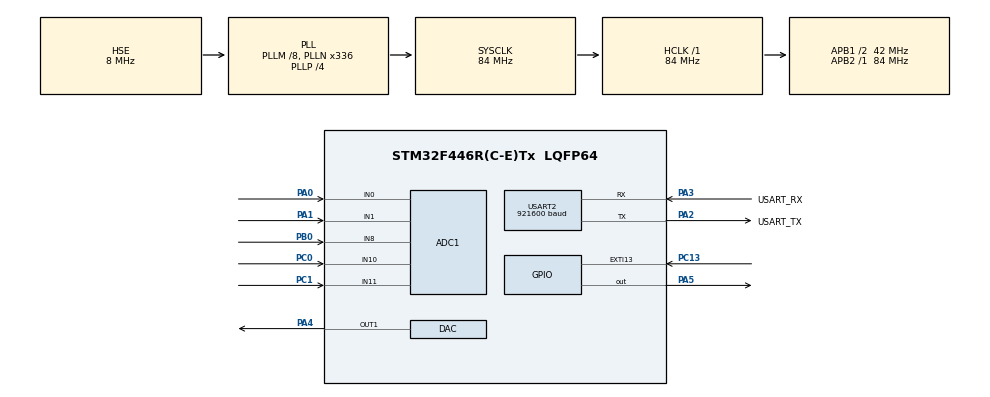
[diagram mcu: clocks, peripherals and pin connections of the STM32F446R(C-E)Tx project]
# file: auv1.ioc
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ADC1.Channel-0\#ChannelRegularConversion=ADC_CHANNEL_0
ADC1.NbrOfConversionFlag=1
ADC1.Rank-0\#ChannelRegularConversion=1
ADC1.SamplingTime-0\#ChannelRegularConversion=ADC_SAMPLETIME_56CYCLES
ADC1.master=1
DAC.DAC_Trigger=DAC_TRIGGER_T6_TRGO
Dma.DAC1.0.Direction=DMA_MEMORY_TO_PERIPH
Dma.DAC1.0.FIFOMode=DMA_FIFOMODE_DISABLE
Dma.DAC1.0.Instance=DMA1_Stream5
Dma.DAC1.0.MemDataAlignment=DMA_MDATAALIGN_HALFWORD
Dma.DAC1.0.MemInc=DMA_MINC_ENABLE
Dma.DAC1.0.Mode=DMA_NORMAL
Dma.DAC1.0.PeriphDataAlignment=DMA_PDATAALIGN_HALFWORD
Dma.DAC1.0.PeriphInc=DMA_PINC_DISABLE
Dma.DAC1.0.Priority=DMA_PRIORITY_HIGH
Dma.Request0=DAC1
Mcu.Family=STM32F4
Mcu.Name=STM32F446R(C-E)Tx
Mcu.Package=LQFP64
NUCLEO-F446RE.BUTTON=0
NUCLEO-F446RE.LD1=false
NVIC.DMA1_Stream5_IRQn=true\:0\:0\:false\:false\:true\:false\:true\:true
NVIC.EXTI15_10_IRQn=true\:0\:0\:true\:false\:true\:true\:true\:true
NVIC.PriorityGroup=NVIC_PRIORITYGROUP_0
PA0-WKUP.Signal=ADCx_IN0
PA1.Signal=ADCx_IN1
PA13.GPIO_Label=TMS
PA13.Mode=Serial_Wire
PA13.Signal=SYS_JTMS-SWDIO
PA14.GPIO_Label=TCK
PA14.Mode=Serial_Wire
PA14.Signal=SYS_JTCK-SWCLK
PA2.GPIO_Label=USART_TX
PA2.Mode=Asynchronous
PA2.Signal=USART2_TX
PA3.GPIO_Label=USART_RX
PA3.Mode=Asynchronous
PA3.Signal=USART2_RX
PA4.Signal=COMP_DAC1_group
PA5.Signal=GPIO_Output
PB0.Signal=ADCx_IN8
PB3.GPIO_Label=SWO
PB3.Signal=SYS_JTDO-SWO
PC0.Signal=ADCx_IN10
PC1.Signal=ADCx_IN11
PC13.GPIO_ModeDefaultEXTI=GPIO_MODE_IT_FALLING
PC13.GPIO_PuPd=GPIO_PULLUP
PC13.Signal=GPXTI13
PC14-OSC32_IN.Signal=RCC_OSC32_IN
PC15-OSC32_OUT.Signal=RCC_OSC32_OUT
PH0-OSC_IN.Signal=RCC_OSC_IN
PH1-OSC_OUT.Signal=RCC_OSC_OUT
ProjectManager.HeapSize=0x200
ProjectManager.StackSize=0x400
ProjectManager.TargetToolchain=STM32CubeIDE
RCC.AHBFreq_Value=84000000
RCC.APB1CLKDivider=RCC_HCLK_DIV2
RCC.APB1Freq_Value=42000000
RCC.APB1TimFreq_Value=84000000
RCC.APB2Freq_Value=84000000
RCC.APB2TimFreq_Value=84000000
RCC.CortexFreq_Value=84000000
RCC.FLatency-AdvancedSettings=FLASH_LATENCY_2
RCC.HCLKFreq_Value=84000000
RCC.HSE_VALUE=8000000
RCC.HSI_VALUE=16000000
RCC.LSE_VALUE=32768
RCC.PLLN=336
RCC.PLLP=RCC_PLLP_DIV4
RCC.SYSCLKFreq_VALUE=84000000
RCC.SYSCLKSource=RCC_SYSCLKSOURCE_PLLCLK
RCC.USBFreq_Value=168000000
RCC.VCOOutputFreq_Value=336000000
SH.ADCx_IN0.0=ADC1_IN0,IN0
SH.ADCx_IN1.0=ADC1_IN1,IN1
SH.ADCx_IN10.0=ADC1_IN10,IN10
SH.ADCx_IN11.0=ADC1_IN11,IN11
SH.ADCx_IN8.0=ADC1_IN8,IN8
SH.COMP_DAC1_group.0=DAC_OUT1,DAC_OUT1
TIM6.Period=83
TIM6.TIM_MasterOutputTrigger=TIM_TRGO_UPDATE
USART2.BaudRate=921600
USART2.VirtualMode=VM_ASYNC
VP_NUCLEO-F446RE_VS_BSP_COMMON.Mode=COMMON
VP_TIM6_VS_ClockSourceINT.Mode=Enable_Timer
board=NUCLEO-F446RE

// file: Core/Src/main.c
/* USER CODE BEGIN Header */

/* USER CODE END Header */

#include "main.h"

/* USER CODE BEGIN Includes */
#include <math.h>
#include <stdio.h>
#include <stdarg.h>
#include <string.h>
#include <stdint.h>
/* USER CODE END Includes */

/* USER CODE BEGIN PTD */

typedef enum
{
  WAVEFORM_LFM = 0,
  WAVEFORM_LOGFM,
  WAVEFORM_HFM,
  WAVEFORM_PHASECODED,
  WAVEFORM_COUNT
} WaveformType_t;

typedef enum
{
  WIN_TUKEY = 0,
  WIN_HANN,
  WIN_HAMMING,
  WIN_BLACKMAN,
  WIN_COUNT
} WindowType_t;

typedef struct
{
  float turbidity_ntu;
  float temperature_c;
  float depth_m;
  float salinity_psu;
  float range_m;
} EnvSensors_t;

typedef struct
{
  WaveformType_t type;
  WindowType_t   window;
  float f_start_hz;
  float f_end_hz;
  float duration_ms;
  float amplitude_scale;

  float fc_model_hz;
  float bw_model_hz;
  float range_m;
  float sound_speed;
  float alpha_dbkm;
  float res_mm;
  uint32_t pri_ms;
} SonarParams_t;

typedef struct
{
  uint8_t  type;
  uint8_t  window;
  uint8_t  amp_pct;
  uint16_t dur_10us;
  uint32_t f0_100hz;
  uint32_t f1_100hz;
} PingKey_t;

typedef struct
{
  SonarParams_t p;
  PingKey_t     key;
  uint32_t      n;
  uint8_t       valid;
  uint8_t       hit;
} Ping_t;

/* USER CODE END PTD */

/* USER CODE BEGIN PD */

#define PROFILE_MVP

#if defined(PROFILE_MVP)
  #define DAC_SAMPLE_RATE   1000000UL
  #define BAND_F_MIN_HZ     20000.0f
  #define BAND_F_MAX_HZ     50000.0f
  #define BAND_F_MAX_HZ_INT 50000UL
  #define MODEL_F_MIN_HZ    100000.0f
  #define MODEL_F_MAX_HZ    500000.0f
  #define TIM_CLK_HZ        84000000UL
  _Static_assert((TIM_CLK_HZ % DAC_SAMPLE_RATE) == 0, "TIM6 divider must be integer");
#else

  #define DAC_SAMPLE_RATE   10000000UL
  #define BAND_F_MIN_HZ     100000.0f
  #define BAND_F_MAX_HZ     500000.0f
  #define BAND_F_MAX_HZ_INT 500000UL
  #define MODEL_F_MIN_HZ    100000.0f
  #define MODEL_F_MAX_HZ    500000.0f
  #error "PROFILE_PAYLOAD is an architectural target; use the ported payload driver rather than this F446RE MSP configuration."
#endif

#if defined(PROFILE_PAYLOAD) && (DAC_SAMPLE_RATE < 10000000UL)
  #error "Payload profile requires a DAC/sample clock of at least 10 MS/s"
#endif

_Static_assert((DAC_SAMPLE_RATE * 2UL) >= (BAND_F_MAX_HZ_INT * 5UL),
               "Sample rate too low for band");

#define MAX_PULSE_MS        7.0f
#define MAX_PULSE_SAMPLES   ((DAC_SAMPLE_RATE / 1000UL) * 7UL)
#define TAIL_PAD            2U

#if defined(PROFILE_MVP)
  _Static_assert((2UL * (MAX_PULSE_SAMPLES + TAIL_PAD) * sizeof(uint16_t) +
                  MAX_PULSE_SAMPLES * sizeof(float)) < (96UL * 1024UL),
                 "MVP waveform buffers exceed the intended F446 SRAM budget");
#endif
#define BARKER13_LEN        13U
#define MIN_PULSE_SAMPLES   (BARKER13_LEN * 8U)

#define BARKER_RC_PER_B     1.0f
#define BARKER_RAMP_SAMPLES 8U
#define WIN_BARKER_GUARD    ((WindowType_t)(WIN_COUNT + 1))

#define MATCH_PAYLOAD_TBP   0

#define CLOCK_USE_HSE_BYPASS 1

#define NTU_MAX             200.0f
#define TEMP_MIN_C          (-2.0f)
#define TEMP_MAX_C          35.0f
#define DEPTH_MAX_M         2000.0f
#define SAL_MAX_PSU         40.0f
#define EMA_ALPHA           0.30f
#define ADC_OVERSAMPLE      16U

#define BW_FRACTION         0.20f
#define ABS_BUDGET_DB       20.0f
#define FC_STEP_HZ          5000.0f
#define TURB_FREQ_EXP       1.0f
#define TURB_MODEL_CALIBRATED 0
#define WATER_PH            8.0f

#define USE_RANGE_POT       1
#define MISSION_RANGE_FIXED_M 50.0f
#define RANGE_MIN_M         10.0f
#define RANGE_MAX_M         300.0f
#define TAU_PER_M_MS        0.02f
#define TAU_MIN_MS          0.5f
#define AMP_MIN             0.20f

#define AMP_MAX             0.85f

#define DAC_PARK_ENABLED    1

#define LOSS_REF_DB         85.0f
#define DRIVE_DB_DIV        20.0f
#define PRI_MIN_MS          60U
#define PRI_GUARD_MS        10.0f
#define TUKEY_ALPHA         0.25f
#define HFM_SEGMENTS        64U

#define STOP_MIN_MS         12U
#define STOP_MARGIN_MS      3U
#define KEEP_DEBUG_IN_STOP  0
#define LSI16_MIN_HZ        1000U
#define LSI16_MAX_HZ        3200U

extern volatile uint32_t uwTick;

#define BUTTON_DEBOUNCE_MS  200U

#define LUT_BITS            10U
#define LUT_SIZE            (1UL << LUT_BITS)
#define TWO_PI_F            6.28318530718f

#define TELEMETRY_ENABLE    1
#define TELEMETRY_EVERY     8U
#define TELEMETRY_BUDGET_MS 12U
#define TELEMETRY_ANSI      0
#define TELEMETRY_BUF_SIZE  896U

#define PIPELINE_GUARD_US   50U
#define ADC_CONV_TIMEOUT_MS 2U

/* USER CODE END PD */

ADC_HandleTypeDef hadc1;

DAC_HandleTypeDef hdac;
DMA_HandleTypeDef hdma_dac1;

TIM_HandleTypeDef htim6;

UART_HandleTypeDef huart2;

/* USER CODE BEGIN PV */

static float sine_lut[LUT_SIZE + 1U];

static const int8_t barker13[BARKER13_LEN] = { 1, 1, 1, 1, 1, -1, -1, 1, 1, -1, 1, -1, 1 };

static const char *const WAVE_NAME[WAVEFORM_COUNT] = { "LFM", "GeoFM", "HFM", "Barker13" };
static const char *const WIN_NAME[WIN_COUNT]       = { "Tukey", "Hann", "Hamming", "Blackman" };

static uint16_t pulse_buf[2][MAX_PULSE_SAMPLES + TAIL_PAD];
static Ping_t   ping[2];

static volatile uint8_t tx_done  = 0;
static volatile uint8_t tx_error = 0;

static volatile uint8_t  wave_override = 0;
static volatile uint32_t btn_last_ms   = 0;

static uint32_t sleep_cycles  = 0;
static uint32_t gen_us        = 0;
static uint32_t duty_pm       = 0;
static uint32_t cache_hits    = 0;
static volatile uint8_t rtc_woke = 0;
static uint32_t lsi16_hz      = 2000;
static uint8_t  stop_ok       = 0;

static float        win_cache[MAX_PULSE_SAMPLES];
static WindowType_t win_cache_type = WIN_COUNT;
static uint32_t     win_cache_n    = 0;
static uint32_t fault_count   = 0;
static int32_t  i_active_uA   = -1;
static int32_t  i_sleep_uA    = -1;
static int32_t  v_bus_mV      = 0;
static volatile uint32_t tx_t0     = 0;
static volatile uint32_t tx_cycles = 0;
static volatile uint32_t tx_us_meas = 0;
static uint32_t tx_us_expected = 0;
static uint32_t pipeline_miss_count = 0;
static uint32_t tx_timeout_count = 0;
static uint32_t adc_error_count = 0;
static uint32_t synthesis_count = 0;
static uint32_t synthesis_overrun_count = 0;
static uint32_t max_gen_us = 0;
static uint8_t pipeline_safe = 1;
static uint32_t pipeline_ready_us = 0;
static uint32_t pipeline_slack_us = 0;
static uint32_t telemetry_overrun_count = 0;
static uint32_t telemetry_max_us = 0;
static uint8_t  clk_hse = 0;

/* USER CODE END PV */

void SystemClock_Config(void);
static void MX_GPIO_Init(void);
static void MX_DMA_Init(void);
static void MX_ADC1_Init(void);
static void MX_DAC_Init(void);
static void MX_TIM6_Init(void);
static void MX_USART2_UART_Init(void);

/* USER CODE BEGIN PFP */

static void     BuildSineLut(void);
static inline float SinLut(uint32_t phase);
static inline float CosLut(uint32_t phase);
static float    WindowValue(WindowType_t w, uint32_t i, uint32_t n);
static uint16_t SampleToDac(float s);

static uint32_t ADC_ReadChannel(uint32_t channel);
static float    ReadNorm(uint32_t channel);
static void     ReadEnvironmentalSensors(EnvSensors_t *env);

static float    SoundSpeed(float T, float S, float z_m);
static float    AbsorptionDbPerKm(float f_khz, float T, float S, float z_m);
static float    TotalAlphaDbPerKm(float f_hz, const EnvSensors_t *e);
static float    ModelToHw(float f_model_hz);
static uint8_t  ZoneHyst(uint8_t prev, float v, const float *thr, uint8_t n, float margin);
static void     DecideSonarParameters(const EnvSensors_t *env, SonarParams_t *p);

static uint32_t SynthesizePulse(const SonarParams_t *p, uint16_t *buf);
static void     BarkerPlan(float f_lo, float f_hi, float *fc_out, uint32_t *spc_out);
static uint32_t TxOverheadNs(uint32_t n);
static uint32_t PhaseStepFromHz(float f_hz);
static uint8_t PingKeyEqual(const PingKey_t *a, const PingKey_t *b);
static void     PreparePing(Ping_t *pg, uint16_t *buf);
static void     StartTx(const uint16_t *buf, uint32_t n);
static uint8_t  WaitTxDone(uint32_t timeout_ms);
static void     StopTx(void);

static void     DwtInit(void);
static void     ParkDacAtMid(void);
static void     DelayUs(uint32_t us);
static void     SleepWfi(void);
static void     SleepUntil(uint32_t deadline_tick);
static void     RtcWakeInit(void);
static void     RtcArm(uint32_t counts);
static void     RtcCalibrate(void);
static void     StopFor(uint32_t ms);
static void     EnsureWindow(WindowType_t w, uint32_t n);
static void     WatchdogInit(void);
static inline void WatchdogKick(void);
static void     Tpf(const char *fmt, ...);
static void     Telemetry(uint32_t seq, const Ping_t *pg);

#ifdef USE_INA226
extern I2C_HandleTypeDef hi2c1;
static void    Ina226_Init(void);
static int32_t Ina226_ReadCurrent_uA(void);
static int32_t Ina226_ReadBus_mV(void);
#endif

/* USER CODE END PFP */

int main(void)
{
  /* USER CODE BEGIN 1 */
  uint8_t  cur = 0;
  uint32_t seq = 0;
  /* USER CODE END 1 */

  HAL_Init();
  SystemClock_Config();

  MX_GPIO_Init();
  MX_DMA_Init();
  MX_ADC1_Init();
  MX_DAC_Init();
  MX_TIM6_Init();
  MX_USART2_UART_Init();

  /* USER CODE BEGIN 2 */
  BuildSineLut();
  DwtInit();
#if DAC_PARK_ENABLED
  ParkDacAtMid();
#endif
#ifdef USE_INA226
  Ina226_Init();
#endif
  WatchdogInit();
  RtcWakeInit();
  RtcCalibrate();

  PreparePing(&ping[cur], pulse_buf[cur]);
  /* USER CODE END 2 */

  /* USER CODE BEGIN WHILE */
  while (1)
  {
    const uint32_t t_start = HAL_GetTick();
    const uint32_t c_start = DWT->CYCCNT;
    const uint8_t  nxt     = cur ^ 1U;
    sleep_cycles = 0;
    WatchdogKick();

    StartTx(pulse_buf[cur], ping[cur].n);
#ifdef USE_INA226
    i_active_uA = Ina226_ReadCurrent_uA();
    v_bus_mV    = Ina226_ReadBus_mV();
#endif

    {
      const uint32_t g0 = DWT->CYCCNT;
      PreparePing(&ping[nxt], pulse_buf[nxt]);
      gen_us = (DWT->CYCCNT - g0) / (SystemCoreClock / 1000000UL);
      if (gen_us > max_gen_us) max_gen_us = gen_us;
      tx_us_expected = (uint32_t)(((uint64_t)ping[cur].n * 1000000ULL) / DAC_SAMPLE_RATE);

      pipeline_ready_us = (DWT->CYCCNT - c_start) / (SystemCoreClock / 1000000UL);
      {
        const uint32_t pri_us = ping[cur].p.pri_ms * 1000UL;
        if (pri_us > pipeline_ready_us + PIPELINE_GUARD_US)
        {
          pipeline_safe = 1U;
          pipeline_slack_us = pri_us - pipeline_ready_us;
        }
        else
        {
          pipeline_safe = 0U;
          pipeline_slack_us = 0U;
          pipeline_miss_count++;
          synthesis_overrun_count++;

        }
      }
    }

    if (!WaitTxDone((uint32_t)ping[cur].p.duration_ms + 25U) || tx_error)
    {
      fault_count++;
      if (!tx_done && !tx_error) tx_timeout_count++;
    }
    StopTx();

    const uint32_t deadline = t_start + ping[cur].p.pri_ms;
    const uint8_t telemetry_due =
#if TELEMETRY_ENABLE
      ((seq % TELEMETRY_EVERY) == 0U);
#else
      0U;
#endif

    if (telemetry_due)
    {
      const int32_t rem = (int32_t)(deadline - HAL_GetTick());
      if (rem > (int32_t)TELEMETRY_BUDGET_MS)
        SleepUntil(deadline - TELEMETRY_BUDGET_MS);
      else
        SleepUntil(deadline);
    }
    else
    {
      SleepUntil(deadline);
    }

    {

      const uint32_t run = (DWT->CYCCNT - c_start) - sleep_cycles;
      const uint64_t period = (uint64_t)ping[cur].p.pri_ms * (SystemCoreClock / 1000UL);
      duty_pm = (period > 0U) ? (uint32_t)(((uint64_t)run * 1000ULL) / period) : 1000U;
    }

#if TELEMETRY_ENABLE
    if (telemetry_due)
    {
      const uint32_t telem_t0 = DWT->CYCCNT;
      Telemetry(seq, &ping[cur]);
      const uint32_t telem_us = (DWT->CYCCNT - telem_t0) / (SystemCoreClock / 1000000UL);
      if (telem_us > telemetry_max_us) telemetry_max_us = telem_us;
      if (telem_us > (TELEMETRY_BUDGET_MS * 1000UL)) telemetry_overrun_count++;

      SleepUntil(deadline);
    }
#endif

    cur = nxt;
    seq++;
    /* USER CODE END WHILE */

  }
}

void SystemClock_Config(void)
{
  RCC_OscInitTypeDef RCC_OscInitStruct = {0};
  RCC_ClkInitTypeDef RCC_ClkInitStruct = {0};
  static int8_t hse_state = -1;

  __HAL_RCC_PWR_CLK_ENABLE();
  __HAL_PWR_VOLTAGESCALING_CONFIG(PWR_REGULATOR_VOLTAGE_SCALE3);

#if CLOCK_USE_HSE_BYPASS
  if (hse_state != 0)
  {
    RCC_OscInitStruct.OscillatorType = RCC_OSCILLATORTYPE_HSE;
    RCC_OscInitStruct.HSEState = RCC_HSE_BYPASS;
    RCC_OscInitStruct.PLL.PLLState = RCC_PLL_ON;
    RCC_OscInitStruct.PLL.PLLSource = RCC_PLLSOURCE_HSE;
    RCC_OscInitStruct.PLL.PLLM = 8;
    RCC_OscInitStruct.PLL.PLLN = 336;
    RCC_OscInitStruct.PLL.PLLP = RCC_PLLP_DIV4;
    RCC_OscInitStruct.PLL.PLLQ = 7;
    RCC_OscInitStruct.PLL.PLLR = 2;
    hse_state = (HAL_RCC_OscConfig(&RCC_OscInitStruct) == HAL_OK) ? 1 : 0;
  }
#else
  hse_state = 0;
#endif

  if (hse_state != 1)
  {
    memset(&RCC_OscInitStruct, 0, sizeof(RCC_OscInitStruct));
    RCC_OscInitStruct.OscillatorType = RCC_OSCILLATORTYPE_HSI | RCC_OSCILLATORTYPE_HSE;
    RCC_OscInitStruct.HSEState = RCC_HSE_OFF;
    RCC_OscInitStruct.HSIState = RCC_HSI_ON;
    RCC_OscInitStruct.HSICalibrationValue = RCC_HSICALIBRATION_DEFAULT;
    RCC_OscInitStruct.PLL.PLLState = RCC_PLL_ON;
    RCC_OscInitStruct.PLL.PLLSource = RCC_PLLSOURCE_HSI;
    RCC_OscInitStruct.PLL.PLLM = 16;
    RCC_OscInitStruct.PLL.PLLN = 336;
    RCC_OscInitStruct.PLL.PLLP = RCC_PLLP_DIV4;
    RCC_OscInitStruct.PLL.PLLQ = 7;
    RCC_OscInitStruct.PLL.PLLR = 2;
    if (HAL_RCC_OscConfig(&RCC_OscInitStruct) != HAL_OK)
    {
      Error_Handler();
    }
  }
  clk_hse = (hse_state == 1) ? 1U : 0U;

  RCC_ClkInitStruct.ClockType = RCC_CLOCKTYPE_HCLK | RCC_CLOCKTYPE_SYSCLK
                              | RCC_CLOCKTYPE_PCLK1 | RCC_CLOCKTYPE_PCLK2;
  RCC_ClkInitStruct.SYSCLKSource = RCC_SYSCLKSOURCE_PLLCLK;
  RCC_ClkInitStruct.AHBCLKDivider = RCC_SYSCLK_DIV1;
  RCC_ClkInitStruct.APB1CLKDivider = RCC_HCLK_DIV2;
  RCC_ClkInitStruct.APB2CLKDivider = RCC_HCLK_DIV1;
  if (HAL_RCC_ClockConfig(&RCC_ClkInitStruct, FLASH_LATENCY_2) != HAL_OK)
  {
    Error_Handler();
  }
}

static void MX_ADC1_Init(void)
{
  ADC_ChannelConfTypeDef sConfig = {0};

  hadc1.Instance = ADC1;
  hadc1.Init.ClockPrescaler = ADC_CLOCK_SYNC_PCLK_DIV4;
  hadc1.Init.Resolution = ADC_RESOLUTION_12B;
  hadc1.Init.ScanConvMode = DISABLE;
  hadc1.Init.ContinuousConvMode = DISABLE;
  hadc1.Init.DiscontinuousConvMode = DISABLE;
  hadc1.Init.ExternalTrigConvEdge = ADC_EXTERNALTRIGCONVEDGE_NONE;
  hadc1.Init.ExternalTrigConv = ADC_SOFTWARE_START;
  hadc1.Init.DataAlign = ADC_DATAALIGN_RIGHT;
  hadc1.Init.NbrOfConversion = 1;
  hadc1.Init.DMAContinuousRequests = DISABLE;
  hadc1.Init.EOCSelection = ADC_EOC_SINGLE_CONV;
  if (HAL_ADC_Init(&hadc1) != HAL_OK)
  {
    Error_Handler();
  }

  sConfig.Channel = ADC_CHANNEL_0;
  sConfig.Rank = 1;
  sConfig.SamplingTime = ADC_SAMPLETIME_56CYCLES;
  if (HAL_ADC_ConfigChannel(&hadc1, &sConfig) != HAL_OK)
  {
    Error_Handler();
  }
}

static void MX_DAC_Init(void)
{
  DAC_ChannelConfTypeDef sConfig = {0};

  hdac.Instance = DAC;
  if (HAL_DAC_Init(&hdac) != HAL_OK)
  {
    Error_Handler();
  }

  sConfig.DAC_Trigger = DAC_TRIGGER_T6_TRGO;
  sConfig.DAC_OutputBuffer = DAC_OUTPUTBUFFER_ENABLE;
  if (HAL_DAC_ConfigChannel(&hdac, &sConfig, DAC_CHANNEL_1) != HAL_OK)
  {
    Error_Handler();
  }
}

static void MX_TIM6_Init(void)
{
  TIM_MasterConfigTypeDef sMasterConfig = {0};

  htim6.Instance = TIM6;
  htim6.Init.Prescaler = 0;
  htim6.Init.CounterMode = TIM_COUNTERMODE_UP;
  htim6.Init.Period = (TIM_CLK_HZ / DAC_SAMPLE_RATE) - 1UL;
  htim6.Init.AutoReloadPreload = TIM_AUTORELOAD_PRELOAD_ENABLE;
  if (HAL_TIM_Base_Init(&htim6) != HAL_OK)
  {
    Error_Handler();
  }

  sMasterConfig.MasterOutputTrigger = TIM_TRGO_UPDATE;
  sMasterConfig.MasterSlaveMode = TIM_MASTERSLAVEMODE_DISABLE;
  if (HAL_TIMEx_MasterConfigSynchronization(&htim6, &sMasterConfig) != HAL_OK)
  {
    Error_Handler();
  }
}

static void MX_USART2_UART_Init(void)
{
  huart2.Instance = USART2;
  huart2.Init.BaudRate = 921600;
  huart2.Init.WordLength = UART_WORDLENGTH_8B;
  huart2.Init.StopBits = UART_STOPBITS_1;
  huart2.Init.Parity = UART_PARITY_NONE;
  huart2.Init.Mode = UART_MODE_TX_RX;
  huart2.Init.HwFlowCtl = UART_HWCONTROL_NONE;
  huart2.Init.OverSampling = UART_OVERSAMPLING_16;
  if (HAL_UART_Init(&huart2) != HAL_OK)
  {
    Error_Handler();
  }
}

static void MX_DMA_Init(void)
{
  __HAL_RCC_DMA1_CLK_ENABLE();
  HAL_NVIC_SetPriority(DMA1_Stream5_IRQn, 0, 0);
  HAL_NVIC_EnableIRQ(DMA1_Stream5_IRQn);
}

static void MX_GPIO_Init(void)
{
  GPIO_InitTypeDef GPIO_InitStruct = {0};

  __HAL_RCC_GPIOC_CLK_ENABLE();
  __HAL_RCC_GPIOH_CLK_ENABLE();
  __HAL_RCC_GPIOA_CLK_ENABLE();
  __HAL_RCC_GPIOB_CLK_ENABLE();

  GPIO_InitStruct.Pin = GPIO_PIN_0 | GPIO_PIN_1;
  GPIO_InitStruct.Mode = GPIO_MODE_ANALOG;
  GPIO_InitStruct.Pull = GPIO_NOPULL;
  HAL_GPIO_Init(GPIOA, &GPIO_InitStruct);

  HAL_GPIO_Init(GPIOC, &GPIO_InitStruct);

  GPIO_InitStruct.Pin = GPIO_PIN_0;
  HAL_GPIO_Init(GPIOB, &GPIO_InitStruct);
  GPIO_InitStruct.Pin = GPIO_PIN_1;

  GPIO_InitStruct.Pin = GPIO_PIN_5;
  GPIO_InitStruct.Mode = GPIO_MODE_OUTPUT_PP;
  GPIO_InitStruct.Pull = GPIO_NOPULL;
  GPIO_InitStruct.Speed = GPIO_SPEED_FREQ_LOW;
  HAL_GPIO_Init(GPIOA, &GPIO_InitStruct);
  HAL_GPIO_WritePin(GPIOA, GPIO_PIN_5, GPIO_PIN_RESET);

  GPIO_InitStruct.Pin  = GPIO_PIN_13;
  GPIO_InitStruct.Mode = GPIO_MODE_IT_FALLING;
  GPIO_InitStruct.Pull = GPIO_PULLUP;
  HAL_GPIO_Init(GPIOC, &GPIO_InitStruct);
  HAL_NVIC_SetPriority(EXTI15_10_IRQn, 0, 0);
  HAL_NVIC_EnableIRQ(EXTI15_10_IRQn);
}

/* USER CODE BEGIN 4 */

static void BuildSineLut(void)
{
  for (uint32_t i = 0; i <= LUT_SIZE; i++)
  {
    sine_lut[i] = sinf(TWO_PI_F * (float)i / (float)LUT_SIZE);
  }
}

static inline float SinLut(uint32_t phase)
{
  const uint32_t idx  = phase >> (32U - LUT_BITS);
  const float    frac = (float)(phase & ((1UL << (32U - LUT_BITS)) - 1UL))
                        * (1.0f / (float)(1UL << (32U - LUT_BITS)));
  const float a = sine_lut[idx];
  const float b = sine_lut[idx + 1U];
  return a + (b - a) * frac;
}

static inline float CosLut(uint32_t phase)
{
  return SinLut(phase + 0x40000000UL);
}

static inline uint32_t TurnsToPhase(float x)
{
  return ((uint32_t)(x * 16777216.0f)) << 8;
}

static inline float RaisedCosineRamp(float u)
{
  if (u >= 1.0f) return 1.0f;
  return 0.5f - 0.5f * CosLut(TurnsToPhase(0.5f * u));
}

static float WindowValue(WindowType_t w, uint32_t i, uint32_t n)
{

  if (w == WIN_BARKER_GUARD)
  {
    const float r = (float)BARKER_RAMP_SAMPLES;
    if ((float)i < r)            return RaisedCosineRamp((float)i / r);
    if ((float)(n - 1U - i) < r) return RaisedCosineRamp((float)(n - 1U - i) / r);
    return 1.0f;
  }

  const float x = (float)i / (float)(n - 1U);
  const uint32_t ph = TurnsToPhase(x);

  switch (w)
  {
    case WIN_HANN:
      return 0.5f - 0.5f * CosLut(ph);

    case WIN_HAMMING:
    {

      float v = 0.54f - 0.46f * CosLut(ph);
      float guard = (float)(n / 50U);
      if (guard < 16.0f) guard = 16.0f;
      if ((float)i < guard)             v *= RaisedCosineRamp((float)i / guard);
      else if ((float)(n - 1U - i) < guard) v *= RaisedCosineRamp((float)(n - 1U - i) / guard);
      return v;
    }

    case WIN_BLACKMAN:
      return 0.42f - 0.5f * CosLut(ph) + 0.08f * CosLut(ph << 1);

    case WIN_TUKEY:
    default:
    {
      float taper = TUKEY_ALPHA * (float)(n - 1U) * 0.5f;
      if (taper < 1.0f) taper = 1.0f;
      if ((float)i < taper)                  return RaisedCosineRamp((float)i / taper);
      if ((float)(n - 1U - i) < taper)       return RaisedCosineRamp((float)(n - 1U - i) / taper);
      return 1.0f;
    }
  }
}

static uint16_t SampleToDac(float s)
{
  if (s > 1.0f)  s = 1.0f;
  if (s < -1.0f) s = -1.0f;
  return (uint16_t)(2048.0f + 2047.0f * s + 0.5f);
}

static uint32_t PhaseStepFromHz(float f_hz)
{

  if (f_hz <= 0.0f) return 0U;
  if (f_hz >= ((float)DAC_SAMPLE_RATE * 0.49f))
    f_hz = (float)DAC_SAMPLE_RATE * 0.49f;
  const uint64_t f_hz_i = (uint64_t)(f_hz + 0.5f);
  return (uint32_t)((f_hz_i * 4294967296ULL) / (uint64_t)DAC_SAMPLE_RATE);
}

static uint8_t PingKeyEqual(const PingKey_t *a, const PingKey_t *b)
{
  return (a->type == b->type && a->window == b->window && a->amp_pct == b->amp_pct &&
          a->dur_10us == b->dur_10us && a->f0_100hz == b->f0_100hz && a->f1_100hz == b->f1_100hz);
}

static void EnsureWindow(WindowType_t w, uint32_t n)
{
  if (w == win_cache_type && n == win_cache_n) return;
  for (uint32_t i = 0; i < n; i++) win_cache[i] = WindowValue(w, i, n);
  win_cache_type = w;
  win_cache_n = n;
}

static void BarkerPlan(float f_lo, float f_hi, float *fc_out, uint32_t *spc_out)
{
  const float fs = (float)DAC_SAMPLE_RATE;
  const uint32_t spc_max = MAX_PULSE_SAMPLES / BARKER13_LEN;
  const float rc_min = fs / (float)spc_max;
  const float rc_max = 0.5f * (BAND_F_MAX_HZ - BAND_F_MIN_HZ);

  float rc = BARKER_RC_PER_B * (f_hi - f_lo);
  if (rc < rc_min) rc = rc_min;
  if (rc > rc_max) rc = rc_max;

  float fc = 0.5f * (f_lo + f_hi);
  if (fc > BAND_F_MAX_HZ - rc) fc = BAND_F_MAX_HZ - rc;
  if (fc < BAND_F_MIN_HZ + rc) fc = BAND_F_MIN_HZ + rc;

  uint32_t k = (uint32_t)(fc / rc + 0.5f);
  if (k < 2U) k = 2U;

  for (;; k++)
  {

    const uint32_t spc = (uint32_t)ceilf((float)k * fs / fc);
    if (spc > spc_max)
    {

      uint32_t kk = (uint32_t)(fc * (float)spc_max / fs);
      if (kk < 1U) kk = 1U;
      if (((float)kk - 1.0f) * fs / (float)spc_max < BAND_F_MIN_HZ) kk++;
      *fc_out  = (float)kk * fs / (float)spc_max;
      *spc_out = spc_max;
      return;
    }
    const float fcq = (float)k * fs / (float)spc;
    const float rcq = fs / (float)spc;
    if ((fcq + rcq) <= BAND_F_MAX_HZ && (fcq - rcq) >= BAND_F_MIN_HZ)
    {
      *fc_out  = fcq;
      *spc_out = spc;
      return;
    }
  }
}

static uint32_t SynthesizePulse(const SonarParams_t *p, uint16_t *buf)
{
  uint32_t n = (uint32_t)(p->duration_ms * (float)DAC_SAMPLE_RATE * 0.001f + 0.5f);

  if (n > MAX_PULSE_SAMPLES) n = MAX_PULSE_SAMPLES;
  if (n < MIN_PULSE_SAMPLES) n = MIN_PULSE_SAMPLES;

  if (p->type == WAVEFORM_PHASECODED)
  {
    n = (n / BARKER13_LEN) * BARKER13_LEN;
    if (n < BARKER13_LEN) n = BARKER13_LEN;
  }

  float f0 = p->f_start_hz;
  float f1 = p->f_end_hz;
  if (f0 < BAND_F_MIN_HZ) f0 = BAND_F_MIN_HZ;
  if (f1 > BAND_F_MAX_HZ) f1 = BAND_F_MAX_HZ;
  if (f1 < f0) { const float t = f0; f0 = f1; f1 = t; }

  uint32_t phase_step = PhaseStepFromHz(f0);
  const uint32_t step0 = phase_step;
  const uint32_t step1 = PhaseStepFromHz(f1);

  int64_t step_q16 = ((int64_t)step0) << 16;
  const int64_t step_delta_q16 = (n > 1U)
      ? ((((int64_t)step1 - (int64_t)step0) << 16) / (int64_t)(n - 1U))
      : 0;

  uint64_t log_ratio_q32 = 0x100000000ULL;
  if (p->type == WAVEFORM_LOGFM && f0 > 0.0f && f1 > 0.0f && n > 1U)
  {
    const double ratio = pow((double)f1 / (double)f0, 1.0 / (double)(n - 1U));
    if (ratio > 0.0 && ratio < 2.0)
      log_ratio_q32 = (uint64_t)(ratio * 4294967296.0 + 0.5);
  }

  static uint32_t hfm_seg_step[HFM_SEGMENTS + 1U];
  uint32_t hfm_seg = 0U;
  uint32_t hfm_seg_end = n;
  int64_t hfm_step_q16 = 0;
  int64_t hfm_delta_q16 = 0;

  if (p->type == WAVEFORM_HFM)
  {
    for (uint32_t s = 0U; s <= HFM_SEGMENTS; s++)
    {
      const float u = (float)s / (float)HFM_SEGMENTS;
      const float inv_f = ((1.0f - u) / f0) + (u / f1);
      const float f = (inv_f > 0.0f) ? (1.0f / inv_f) : f0;
      hfm_seg_step[s] = PhaseStepFromHz(f);
    }

    hfm_step_q16 = ((int64_t)hfm_seg_step[0]) << 16;
    hfm_seg_end = (n + HFM_SEGMENTS - 1U) / HFM_SEGMENTS;
    if (hfm_seg_end == 0U || hfm_seg_end > n) hfm_seg_end = n;
    hfm_delta_q16 = (hfm_seg_end > 0U)
        ? ((((int64_t)hfm_seg_step[1] - (int64_t)hfm_seg_step[0]) << 16) /
           (int64_t)hfm_seg_end)
        : 0;
  }

  uint32_t spc = 1U, chip = 0U, chip_cnt = 0U;
  if (p->type == WAVEFORM_PHASECODED)
  {
    spc = n / BARKER13_LEN;
    if (spc == 0U) spc = 1U;

    uint32_t kc = (uint32_t)(0.5f * (f0 + f1) * (float)spc / (float)DAC_SAMPLE_RATE + 0.5f);
    if (kc < 1U) kc = 1U;
    phase_step = (uint32_t)((((uint64_t)kc << 32) + (uint64_t)(spc / 2U)) / (uint64_t)spc);
  }

  const WindowType_t active_window =
      (p->type == WAVEFORM_PHASECODED) ? WIN_BARKER_GUARD : p->window;
  EnsureWindow(active_window, n);

  uint32_t phase = 0U;
  const float amp = (p->amplitude_scale < AMP_MIN) ? AMP_MIN :
                    ((p->amplitude_scale > AMP_MAX) ? AMP_MAX : p->amplitude_scale);

  for (uint32_t i = 0; i < n; i++)
  {
    float sample = amp * win_cache[i] * SinLut(phase);

    if (p->type == WAVEFORM_PHASECODED)
    {
      sample *= (float)barker13[chip];
      if (++chip_cnt >= spc)
      {
        chip_cnt = 0U;
        if (chip < (BARKER13_LEN - 1U)) chip++;
      }
    }

    buf[i] = SampleToDac(sample);
    phase += phase_step;

    switch (p->type)
    {
      case WAVEFORM_LFM:
        step_q16 += step_delta_q16;
        if (step_q16 < 0) step_q16 = 0;
        phase_step = (uint32_t)(step_q16 >> 16);
        break;

      case WAVEFORM_LOGFM:
        phase_step = (uint32_t)(((uint64_t)phase_step * log_ratio_q32) >> 32);
        break;

      case WAVEFORM_HFM:
      {
        hfm_step_q16 += hfm_delta_q16;
        phase_step = (uint32_t)(hfm_step_q16 >> 16);

        if ((i + 1U) >= hfm_seg_end && hfm_seg < (HFM_SEGMENTS - 1U))
        {
          hfm_seg++;
          const uint32_t seg_start = (n * hfm_seg) / HFM_SEGMENTS;
          hfm_seg_end = (n * (hfm_seg + 1U)) / HFM_SEGMENTS;
          if (hfm_seg_end <= seg_start) hfm_seg_end = seg_start + 1U;
          if (hfm_seg_end > n) hfm_seg_end = n;

          hfm_step_q16 = ((int64_t)hfm_seg_step[hfm_seg]) << 16;
          const uint32_t seg_len = hfm_seg_end - seg_start;
          hfm_delta_q16 = (seg_len > 0U)
              ? ((((int64_t)hfm_seg_step[hfm_seg + 1U] -
                   (int64_t)hfm_seg_step[hfm_seg]) << 16) / (int64_t)seg_len)
              : 0;
        }
        break;
      }

      default:
        break;
    }
  }

  for (uint32_t k = 0; k < TAIL_PAD; k++) buf[n + k] = 2048U;

  return n + TAIL_PAD;
}
static void PreparePing(Ping_t *pg, uint16_t *buf)
{
  EnvSensors_t env;
  SonarParams_t t;
  PingKey_t k;

  ReadEnvironmentalSensors(&env);
  DecideSonarParameters(&env, &t);

  memset(&k, 0, sizeof(k));
  k.type     = (uint8_t)t.type;
  k.window   = (uint8_t)t.window;
  k.f0_100hz = (uint32_t)(t.f_start_hz / 100.0f + 0.5f);
  k.f1_100hz = (uint32_t)(t.f_end_hz   / 100.0f + 0.5f);
  k.dur_10us = (uint16_t)(t.duration_ms * 100.0f + 0.5f);
  k.amp_pct  = (uint8_t)(t.amplitude_scale * 100.0f + 0.5f);

  t.f_start_hz      = (float)k.f0_100hz * 100.0f;
  t.f_end_hz        = (float)k.f1_100hz * 100.0f;
  t.duration_ms     = (float)k.dur_10us * 0.01f;
  t.amplitude_scale = (float)k.amp_pct * 0.01f;

  pg->p = t;

  if (pg->valid && PingKeyEqual(&pg->key, &k))
  {
    pg->hit = 1;
    cache_hits++;
    return;
  }

  pg->key   = k;
  pg->n     = SynthesizePulse(&pg->p, buf);
  synthesis_count++;
  pg->valid = 1;
  pg->hit   = 0;
}

static uint32_t ADC_ReadChannel(uint32_t channel)
{
  ADC_ChannelConfTypeDef sConfig = {0};
  uint32_t value = 0;

  sConfig.Channel = channel;
  sConfig.Rank = 1;
  sConfig.SamplingTime = ADC_SAMPLETIME_56CYCLES;
  if (HAL_ADC_ConfigChannel(&hadc1, &sConfig) != HAL_OK)
  {
    adc_error_count++;
    return 0U;
  }

  if (HAL_ADC_Start(&hadc1) != HAL_OK)
  {
    adc_error_count++;
    return 0U;
  }
  if (HAL_ADC_PollForConversion(&hadc1, ADC_CONV_TIMEOUT_MS) == HAL_OK)
    value = HAL_ADC_GetValue(&hadc1);
  else
    adc_error_count++;
  HAL_ADC_Stop(&hadc1);
  return value;
}

static float ReadNorm(uint32_t channel)
{
  uint32_t acc = 0;
  for (uint32_t k = 0; k < ADC_OVERSAMPLE; k++) acc += ADC_ReadChannel(channel);
  return (float)acc / (float)(ADC_OVERSAMPLE * 4095U);
}

static void ReadEnvironmentalSensors(EnvSensors_t *env)
{
  static uint8_t primed = 0;
  static EnvSensors_t f;

  EnvSensors_t raw;
  raw.turbidity_ntu = ReadNorm(ADC_CHANNEL_0)  * NTU_MAX;
  raw.temperature_c = TEMP_MIN_C + ReadNorm(ADC_CHANNEL_1) * (TEMP_MAX_C - TEMP_MIN_C);
  raw.depth_m       = ReadNorm(ADC_CHANNEL_10) * DEPTH_MAX_M;
  raw.salinity_psu  = ReadNorm(ADC_CHANNEL_11) * SAL_MAX_PSU;
#if USE_RANGE_POT
  raw.range_m       = RANGE_MIN_M * powf(RANGE_MAX_M / RANGE_MIN_M, ReadNorm(ADC_CHANNEL_8));
#else
  raw.range_m       = MISSION_RANGE_FIXED_M;
#endif

  if (raw.turbidity_ntu < 0.0f) raw.turbidity_ntu = 0.0f;
  if (raw.turbidity_ntu > NTU_MAX) raw.turbidity_ntu = NTU_MAX;
  if (raw.temperature_c < TEMP_MIN_C) raw.temperature_c = TEMP_MIN_C;
  if (raw.temperature_c > TEMP_MAX_C) raw.temperature_c = TEMP_MAX_C;
  if (raw.depth_m < 0.0f) raw.depth_m = 0.0f;
  if (raw.depth_m > DEPTH_MAX_M) raw.depth_m = DEPTH_MAX_M;
  if (raw.salinity_psu < 0.0f) raw.salinity_psu = 0.0f;
  if (raw.salinity_psu > SAL_MAX_PSU) raw.salinity_psu = SAL_MAX_PSU;
  if (raw.range_m < RANGE_MIN_M) raw.range_m = RANGE_MIN_M;
  if (raw.range_m > RANGE_MAX_M) raw.range_m = RANGE_MAX_M;

  if (!primed) { f = raw; primed = 1; }
  else
  {
    f.turbidity_ntu += EMA_ALPHA * (raw.turbidity_ntu - f.turbidity_ntu);
    f.temperature_c += EMA_ALPHA * (raw.temperature_c - f.temperature_c);
    f.depth_m       += EMA_ALPHA * (raw.depth_m       - f.depth_m);
    f.salinity_psu  += EMA_ALPHA * (raw.salinity_psu  - f.salinity_psu);
    f.range_m       += EMA_ALPHA * (raw.range_m       - f.range_m);
  }
  *env = f;
}

static float SoundSpeed(float T, float S, float z_m)
{
  if (T < TEMP_MIN_C) T = TEMP_MIN_C;
  if (T > TEMP_MAX_C) T = TEMP_MAX_C;
  if (S < 0.0f) S = 0.0f;
  if (S > SAL_MAX_PSU) S = SAL_MAX_PSU;
  if (z_m < 0.0f) z_m = 0.0f;
  if (z_m > DEPTH_MAX_M) z_m = DEPTH_MAX_M;

  const float c = 1449.2f + 4.6f * T - 0.055f * T * T + 0.00029f * T * T * T
                + (1.34f - 0.010f * T) * (S - 35.0f) + 0.016f * z_m;
  return (c > 1300.0f && c < 1700.0f) ? c : 1500.0f;
}

static float AbsorptionDbPerKm(float f_khz, float T, float S, float z_m)
{
  if (f_khz < 1.0f) f_khz = 1.0f;
  if (S < 0.1f) S = 0.1f;
  if (S > SAL_MAX_PSU) S = SAL_MAX_PSU;
  const float z_km = fmaxf(0.0f, z_m * 0.001f);
  const float f2s  = f_khz * f_khz;
  const float f1   = 0.78f * sqrtf(S / 35.0f) * expf(T / 26.0f);
  const float f2   = 42.0f * expf(T / 17.0f);

  const float boric = 0.106f * (f1 * f2s / (f1 * f1 + f2s)) * expf((WATER_PH - 8.0f) / 0.56f);
  const float mgso4 = 0.52f * (1.0f + T / 43.0f) * (S / 35.0f)
                    * (f2 * f2s / (f2 * f2 + f2s)) * expf(-z_km / 6.0f);
  const float visc  = 0.00049f * f2s * expf(-(T / 27.0f + z_km / 17.0f));
  return boric + mgso4 + visc;
}

#define TURB_PTS 5U
static const float turb_ntu_pts[TURB_PTS]  = { 0.0f, 20.0f, 60.0f, 120.0f, 200.0f };
static const float turb_a100_pts[TURB_PTS] = { 0.0f, 10.0f, 30.0f,  60.0f, 100.0f };

static float TurbAlphaDbPerKm(float f_khz, float ntu)
{
  float a100 = turb_a100_pts[TURB_PTS - 1U];
  if (ntu <= 0.0f) return 0.0f;
  for (uint32_t i = 1U; i < TURB_PTS; i++)
  {
    if (ntu <= turb_ntu_pts[i])
    {
      const float u = (ntu - turb_ntu_pts[i - 1U]) / (turb_ntu_pts[i] - turb_ntu_pts[i - 1U]);
      a100 = turb_a100_pts[i - 1U] + u * (turb_a100_pts[i] - turb_a100_pts[i - 1U]);
      break;
    }
  }
  return a100 * powf(f_khz / 100.0f, TURB_FREQ_EXP);
}

static float TotalAlphaDbPerKm(float f_hz, const EnvSensors_t *e)
{
  const float f_khz = f_hz * 0.001f;
  const float a_w = AbsorptionDbPerKm(f_khz, e->temperature_c, e->salinity_psu, e->depth_m);
  const float a_t = TurbAlphaDbPerKm(f_khz, e->turbidity_ntu);
  const float total = a_w + a_t;
  return (total > 10000.0f) ? 10000.0f : ((total < 0.0f) ? 0.0f : total);
}

static float ModelToHw(float f_model_hz)
{
  if (f_model_hz < MODEL_F_MIN_HZ) f_model_hz = MODEL_F_MIN_HZ;
  if (f_model_hz > MODEL_F_MAX_HZ) f_model_hz = MODEL_F_MAX_HZ;
  return BAND_F_MIN_HZ + (f_model_hz - MODEL_F_MIN_HZ)
         * ((BAND_F_MAX_HZ - BAND_F_MIN_HZ) / (MODEL_F_MAX_HZ - MODEL_F_MIN_HZ));
}

static uint8_t ZoneHyst(uint8_t prev, float v, const float *thr, uint8_t n, float margin)
{
  uint8_t z = prev;
  while (z < n && v > thr[z] + margin) z++;
  while (z > 0U && v < thr[z - 1U] - margin) z--;
  return z;
}

static void DecideSonarParameters(const EnvSensors_t *e, SonarParams_t *p)
{
  static uint8_t z_ntu = 0, z_rng = 0, z_deep = 0;
  static uint8_t model_valid = 0;
  static EnvSensors_t last_model_env;
  static SonarParams_t last_model_params;
  static const float ntu_thr[3]   = { 5.0f, 20.0f, 60.0f };
  static const float range_thr[2] = { 35.0f, 60.0f };
  static const float deep_thr[1]  = { 500.0f };

  const uint8_t ov = wave_override;

  if (model_valid &&
      fabsf(e->turbidity_ntu - last_model_env.turbidity_ntu) < 1.0f &&
      fabsf(e->temperature_c - last_model_env.temperature_c) < 0.25f &&
      fabsf(e->depth_m - last_model_env.depth_m) < 5.0f &&
      fabsf(e->salinity_psu - last_model_env.salinity_psu) < 0.25f &&
      fabsf(e->range_m - last_model_env.range_m) < 1.0f &&
      ov == 0U)
  {
    *p = last_model_params;
    return;
  }

  const float c = SoundSpeed(e->temperature_c, e->salinity_psu, e->depth_m);

  const float R = e->range_m;

  const float fc_hi = MODEL_F_MAX_HZ / (1.0f + 0.5f * BW_FRACTION);
  const float fc_lo = MODEL_F_MIN_HZ / (1.0f - 0.5f * BW_FRACTION);
  float fc = fc_lo;
  float alpha = 0.0f;
  uint8_t found = 0;

  const uint32_t coarse_n = 8U;
  float coarse_step = (fc_hi - fc_lo) / (float)(coarse_n - 1U);
  for (uint32_t i = 0U; i < coarse_n; i++)
  {
    const float f = fc_hi - (float)i * coarse_step;
    const float a = TotalAlphaDbPerKm(f, e);
    if ((2.0f * a * R / 1000.0f) <= ABS_BUDGET_DB)
    {
      fc = f; alpha = a; found = 1U;
      break;
    }
  }

  if (!found)
  {
    fc = fc_lo;
    alpha = TotalAlphaDbPerKm(fc_lo, e);
  }
  else if (coarse_step > FC_STEP_HZ)
  {

    const float upper = fminf(fc_hi, fc + coarse_step);
    float lo = fc;
    float hi = upper;
    for (uint32_t k = 0U; k < 5U; k++)
    {
      const float mid = 0.5f * (lo + hi);
      const float a = TotalAlphaDbPerKm(mid, e);
      if ((2.0f * a * R / 1000.0f) <= ABS_BUDGET_DB)
      {
        lo = mid;
        alpha = a;
      }
      else
      {
        hi = mid;
      }
    }
    fc = lo;
    alpha = TotalAlphaDbPerKm(fc, e);
  }

  const float B = BW_FRACTION * fc;

  z_ntu  = ZoneHyst(z_ntu,  e->turbidity_ntu, ntu_thr,   3U, 3.0f);
  z_rng  = ZoneHyst(z_rng,  R,                range_thr, 2U, 3.0f);
  z_deep = ZoneHyst(z_deep, e->depth_m,       deep_thr,  1U, 25.0f);

  if (ov != 0U)                         p->type = (WaveformType_t)(ov - 1U);
  else if (z_rng == 0U && z_ntu >= 1U)  p->type = WAVEFORM_PHASECODED;
  else if (z_ntu == 3U)                 p->type = WAVEFORM_HFM;
  else if (z_ntu == 2U)                 p->type = WAVEFORM_LOGFM;
  else                                  p->type = WAVEFORM_LFM;

  if (z_deep == 1U)       p->window = WIN_BLACKMAN;
  else if (z_ntu >= 2U)   p->window = WIN_HANN;
  else if (z_rng <= 1U)   p->window = WIN_HAMMING;
  else                    p->window = WIN_TUKEY;

  if (p->type == WAVEFORM_PHASECODED) p->window = WIN_TUKEY;

  float tau = TAU_PER_M_MS * R;
  if (tau < TAU_MIN_MS) tau = TAU_MIN_MS;
  if (tau > MAX_PULSE_MS) tau = MAX_PULSE_MS;

  float f_start = ModelToHw(fc - 0.5f * B);
  float f_end   = ModelToHw(fc + 0.5f * B);

  if (p->type == WAVEFORM_PHASECODED)
  {

    float fcb;
    uint32_t spc;
    BarkerPlan(f_start, f_end, &fcb, &spc);
    const float rc = (float)DAC_SAMPLE_RATE / (float)spc;
    f_start = fcb - rc;
    f_end   = fcb + rc;
    tau = (float)((BARKER13_LEN * spc + 9U) / 10U) * 0.01f;
  }
#if MATCH_PAYLOAD_TBP
  else if ((f_end - f_start) > 1.0f)
  {

    tau *= B / (f_end - f_start);
    if (tau > MAX_PULSE_MS) tau = MAX_PULSE_MS;
  }
#endif

  const float loss_db = 40.0f * log10f(R) + 2.0f * alpha * R / 1000.0f - 10.0f * log10f(tau);
  float A = AMP_MIN * powf(10.0f, (loss_db - LOSS_REF_DB) / DRIVE_DB_DIV);
  if (A < AMP_MIN) A = AMP_MIN;
  if (A > AMP_MAX) A = AMP_MAX;

  p->f_start_hz      = f_start;
  p->f_end_hz        = f_end;
  p->duration_ms     = tau;
  p->amplitude_scale = A;
  p->fc_model_hz     = fc;
  p->bw_model_hz     = B;
  p->range_m         = R;
  p->sound_speed     = c;
  p->alpha_dbkm      = alpha;
  p->res_mm          = 1000.0f * c / (2.0f * B);

  float pri = 2000.0f * R / c + tau + PRI_GUARD_MS;
  if (pri < (float)PRI_MIN_MS) pri = (float)PRI_MIN_MS;
  if (pri > 60000.0f) pri = 60000.0f;
  p->pri_ms = (uint32_t)(pri + 0.5f);

  if (ov == 0U)
  {
    last_model_env = *e;
    last_model_params = *p;
    model_valid = 1U;
  }
}

static void ParkDacAtMid(void)
{
  if (HAL_DAC_SetValue(&hdac, DAC_CHANNEL_1, DAC_ALIGN_12B_R, 2048U) != HAL_OK) Error_Handler();
  if (HAL_DAC_Start(&hdac, DAC_CHANNEL_1) != HAL_OK) Error_Handler();
  DelayUs(20);
  TIM6->EGR = TIM_EGR_UG;
  DelayUs(5);
  hdac.State = HAL_DAC_STATE_READY;
  __HAL_UNLOCK(&hdac);
}

static void StartTx(const uint16_t *buf, uint32_t n)
{
  tx_done = 0;
  tx_error = 0;

  __HAL_TIM_SET_COUNTER(&htim6, 0);

  if (HAL_DAC_Start_DMA(&hdac, DAC_CHANNEL_1, (uint32_t *)buf, n, DAC_ALIGN_12B_R) != HAL_OK)
  {
    Error_Handler();
  }

  DelayUs(20);
  tx_t0 = DWT->CYCCNT;
  HAL_GPIO_WritePin(GPIOA, GPIO_PIN_5, GPIO_PIN_SET);

  htim6.State = HAL_TIM_STATE_READY;
  __HAL_TIM_ENABLE(&htim6);
}

static uint8_t WaitTxDone(uint32_t timeout_ms)
{
  const uint32_t t0 = HAL_GetTick();
  while (!tx_done && !tx_error)
  {
    if ((HAL_GetTick() - t0) > timeout_ms) return 0;
    WatchdogKick();
    SleepWfi();
  }
  return 1;
}

static void StopTx(void)
{
  __HAL_TIM_DISABLE(&htim6);
#if DAC_PARK_ENABLED

  (void)HAL_DMA_Abort(&hdma_dac1);
  hdma_dac1.State = HAL_DMA_STATE_READY;
  __HAL_UNLOCK(&hdma_dac1);
  DAC->CR &= ~DAC_CR_DMAEN1;
  DAC->SR  = DAC_SR_DMAUDR1;
  hdac.State = HAL_DAC_STATE_READY;
  __HAL_UNLOCK(&hdac);
#else
  HAL_DAC_Stop_DMA(&hdac, DAC_CHANNEL_1);
#endif
  HAL_GPIO_WritePin(GPIOA, GPIO_PIN_5, GPIO_PIN_RESET);
}

void HAL_DAC_ConvCpltCallbackCh1(DAC_HandleTypeDef *hdac_)
{
  (void)hdac_;
  __HAL_TIM_DISABLE(&htim6);
  tx_cycles = DWT->CYCCNT - tx_t0;
  tx_us_meas = tx_cycles / (SystemCoreClock / 1000000UL);
  tx_done = 1;
}

void HAL_DAC_ErrorCallbackCh1(DAC_HandleTypeDef *hdac_)
{
  (void)hdac_;
  __HAL_TIM_DISABLE(&htim6);
  tx_error = 1;
}

static void DwtInit(void)
{
  CoreDebug->DEMCR |= CoreDebug_DEMCR_TRCENA_Msk;
  DWT->CYCCNT = 0;
  DWT->CTRL |= DWT_CTRL_CYCCNTENA_Msk;
}

static void DelayUs(uint32_t us)
{
  const uint32_t t0 = DWT->CYCCNT;
  const uint32_t cycles = us * (SystemCoreClock / 1000000UL);
  while ((DWT->CYCCNT - t0) < cycles) { }
}

static void SleepWfi(void)
{
  const uint32_t t0 = DWT->CYCCNT;
  __WFI();
  sleep_cycles += (DWT->CYCCNT - t0);
}

void HAL_GPIO_EXTI_Callback(uint16_t GPIO_Pin)
{
  if (GPIO_Pin != GPIO_PIN_13) return;

  const uint32_t now = HAL_GetTick();
  if ((now - btn_last_ms) < BUTTON_DEBOUNCE_MS) return;
  btn_last_ms = now;

  wave_override = (uint8_t)((wave_override + 1U) % (WAVEFORM_COUNT + 1U));
}

void RTC_WKUP_IRQHandler(void)
{
  RTC->WPR = 0xCA;
  RTC->WPR = 0x53;
  RTC->CR &= ~RTC_CR_WUTE;
  RTC->ISR &= ~RTC_ISR_WUTF;
  RTC->WPR = 0xFF;
  EXTI->PR = (1UL << 22);
  rtc_woke = 1;
}

static void RtcWakeInit(void)
{
  __HAL_RCC_PWR_CLK_ENABLE();
  PWR->CR |= PWR_CR_DBP;
  while (!(PWR->CR & PWR_CR_DBP)) { }

  RCC->CSR |= RCC_CSR_LSION;
  while (!(RCC->CSR & RCC_CSR_LSIRDY)) { }

  if ((RCC->BDCR & RCC_BDCR_RTCSEL) != RCC_BDCR_RTCSEL_1)
  {
    RCC->BDCR |= RCC_BDCR_BDRST;
    RCC->BDCR &= ~RCC_BDCR_BDRST;
    RCC->BDCR |= RCC_BDCR_RTCSEL_1;
  }
  RCC->BDCR |= RCC_BDCR_RTCEN;

  RTC->WPR = 0xCA;
  RTC->WPR = 0x53;
  RTC->CR &= ~RTC_CR_WUTE;
  while (!(RTC->ISR & RTC_ISR_WUTWF)) { }
  RTC->CR &= ~RTC_CR_WUCKSEL;
  RTC->CR |= RTC_CR_WUTIE;
  RTC->WPR = 0xFF;

  EXTI->IMR  |= (1UL << 22);
  EXTI->RTSR |= (1UL << 22);
  HAL_NVIC_SetPriority(RTC_WKUP_IRQn, 1, 0);
  HAL_NVIC_EnableIRQ(RTC_WKUP_IRQn);

#if KEEP_DEBUG_IN_STOP
  HAL_DBGMCU_EnableDBGStopMode();
#endif
}

static void RtcArm(uint32_t counts)
{
  RTC->WPR = 0xCA;
  RTC->WPR = 0x53;
  RTC->CR &= ~RTC_CR_WUTE;
  while (!(RTC->ISR & RTC_ISR_WUTWF)) { }
  RTC->WUTR = counts - 1U;
  RTC->ISR &= ~RTC_ISR_WUTF;
  rtc_woke = 0;
  RTC->CR |= RTC_CR_WUTE;
  RTC->WPR = 0xFF;
}

static void RtcCalibrate(void)
{
  const uint32_t counts = 400U;
  const uint32_t t0 = HAL_GetTick();

  RtcArm(counts);
  while (!rtc_woke && (HAL_GetTick() - t0) < 1000U)
  {
    WatchdogKick();
    __WFI();
  }

  uint32_t ms = HAL_GetTick() - t0;
  if (ms == 0U) ms = 1U;
  lsi16_hz = (counts * 1000U) / ms;
  stop_ok = (rtc_woke && lsi16_hz >= LSI16_MIN_HZ && lsi16_hz <= LSI16_MAX_HZ) ? 1U : 0U;

}

static void StopFor(uint32_t ms)
{
  uint32_t counts = (ms * lsi16_hz) / 1000U;
  if (counts < 2U) return;
  if (counts > 65535U) counts = 65535U;

  WatchdogKick();
  RtcArm(counts);

  HAL_SuspendTick();
  PWR->CR |= PWR_CR_FPDS;
  do
  {
    HAL_PWR_EnterSTOPMode(PWR_LOWPOWERREGULATOR_ON, PWR_STOPENTRY_WFI);
  } while (!rtc_woke);

  SystemClock_Config();
  HAL_ResumeTick();
  uwTick += (counts * 1000U) / lsi16_hz;
}

static void SleepUntil(uint32_t deadline_tick)
{
  for (;;)
  {
    const int32_t rem = (int32_t)(deadline_tick - HAL_GetTick());
    if (rem <= 0) break;

    if (stop_ok && rem > (int32_t)STOP_MIN_MS)
    {
      const uint32_t stop_ms = (uint32_t)rem - ((uint32_t)rem >> 4) - STOP_MARGIN_MS;
      StopFor(stop_ms);
#ifdef USE_INA226
      i_sleep_uA = Ina226_ReadCurrent_uA();
#endif
      continue;
    }

    WatchdogKick();
    SleepWfi();
  }
}

static void WatchdogInit(void)
{
  __HAL_DBGMCU_FREEZE_IWDG();
  IWDG->KR  = 0xCCCC;
  IWDG->KR  = 0x5555;
  IWDG->PR  = 4;
  IWDG->RLR = 1000;
  uint32_t guard = 100000U;
  while (IWDG->SR && guard--) { }
  IWDG->KR  = 0xAAAA;
}

static inline void WatchdogKick(void)
{
  IWDG->KR = 0xAAAA;
}

static char     tel_buf[TELEMETRY_BUF_SIZE];
static uint32_t tel_len;

#if TELEMETRY_ANSI
  #define T_EOL "\xb[K\rn"
#else
  #define T_EOL "\rn"
#endif

#define UL(x)    ((unsigned long)(x))
#define KHZ_I(h) UL((h) / 1000UL)
#define KHZ_F(h) UL(((h) % 1000UL) / 100UL)

static void Tpf(const char *fmt, ...)
{
  if (tel_len >= (sizeof(tel_buf) - 1U)) return;
  va_list ap;
  va_start(ap, fmt);
  const int r = vsnprintf(tel_buf + tel_len, sizeof(tel_buf) - tel_len, fmt, ap);
  va_end(ap);
  if (r > 0)
  {
    tel_len += (uint32_t)r;
    if (tel_len > (sizeof(tel_buf) - 1U)) tel_len = sizeof(tel_buf) - 1U;
  }
}

static void Telemetry(uint32_t seq, const Ping_t *pg)
{
  static uint8_t screen_init = 0;
  const SonarParams_t *p = &pg->p;
  const uint8_t ov = wave_override;

  const uint32_t fc     = (uint32_t)p->fc_model_hz;
  const uint32_t bw     = (uint32_t)p->bw_model_hz;
  const uint32_t hw0    = (uint32_t)p->f_start_hz;
  const uint32_t hw1    = (uint32_t)p->f_end_hz;
  const uint32_t tau_us = (uint32_t)(p->duration_ms * 1000.0f + 0.5f);
  const uint32_t amp    = (uint32_t)(p->amplitude_scale * 100.0f + 0.5f);
  const uint32_t lat_ns = TxOverheadNs(pg->n);
  const uint8_t healthy = (fault_count == 0U && pipeline_miss_count == 0U &&
                           adc_error_count == 0U && telemetry_overrun_count == 0U);

  tel_len = 0;
#if TELEMETRY_ANSI
  if (!screen_init) { Tpf("\xb[2J"); screen_init = 1; }
  Tpf("\xb[H");
#else
  (void)screen_init;
#endif

  Tpf("==[ PING #%06lu ]============================================" T_EOL, UL(seq));
  Tpf(" Waveform : %-8s / %-8s     Mode : %s" T_EOL,
      WAVE_NAME[p->type],
      (p->type == WAVEFORM_PHASECODED) ? "ramp" : WIN_NAME[p->window],
      ov ? "MANUAL" : "AUTO");
  Tpf(" Band     : fc %lu.%lu kHz   B %lu.%lu kHz   HW %lu.%lu-%lu.%lu kHz%s" T_EOL,
      KHZ_I(fc), KHZ_F(fc), KHZ_I(bw), KHZ_F(bw),
      KHZ_I(hw0), KHZ_F(hw0), KHZ_I(hw1), KHZ_F(hw1),
      (p->type == WAVEFORM_PHASECODED) ? " (main-lobe nulls)" : "");
  Tpf(" Pulse    : tau %lu us   amp %lu %%   PRI %lu ms   dR(c/2B) %lu mm" T_EOL,
      UL(tau_us), UL(amp), UL(p->pri_ms), UL(p->res_mm));
  if (p->type == WAVEFORM_PHASECODED && hw1 > hw0)
  {

    const uint32_t fcb = (hw0 + hw1) / 2U;
    const uint32_t rc  = (hw1 - hw0) / 2U;
    const uint32_t spc = (rc > 0U) ? (DAC_SAMPLE_RATE + rc / 2U) / rc : 0U;
    const uint32_t cyc = (uint32_t)(((uint64_t)fcb * spc + DAC_SAMPLE_RATE / 2U) / DAC_SAMPLE_RATE);
    Tpf(" Barker   : carrier %lu.%lu kHz   chips 13 x %lu us   %lu cycles/chip" T_EOL,
        KHZ_I(fcb), KHZ_F(fcb), UL(spc), UL(cyc));
  }
  Tpf(" Link     : R %lu m   c %lu m/s   alpha %lu dB/km" T_EOL,
      UL(p->range_m), UL(p->sound_speed), UL(p->alpha_dbkm));
  Tpf(" Timing   : prep %lu us   ready %lu us   slack %lu us" T_EOL,
      UL(gen_us), UL(pipeline_ready_us), UL(pipeline_slack_us));
  Tpf(" TX       : %lu / %lu us (meas/exp)   IRQ lat %lu.%lu us   clk %s" T_EOL,
      UL(tx_us_meas), UL(tx_us_expected),
      UL(lat_ns / 1000UL), UL((lat_ns % 1000UL) / 100UL),
      clk_hse ? "HSE 8M" : "HSI RC (+-1%)");
  Tpf(" Power    : CPU %lu.%lu %%   Stop %s   cache %s (%lu hit / %lu synth)" T_EOL,
      UL(duty_pm / 10U), UL(duty_pm % 10U), stop_ok ? "ON " : "OFF",
      pg->hit ? "HIT " : "MISS", UL(cache_hits), UL(synthesis_count));

  if (i_active_uA >= 0 && i_sleep_uA >= 0)
  {

    const uint32_t d = (duty_pm > 1000U) ? 1000U : duty_pm;
    const uint64_t avg_uA = ((uint64_t)i_active_uA * d + (uint64_t)i_sleep_uA * (1000U - d)) / 1000U;

    const uint64_t e_uJ   = ((uint64_t)(v_bus_mV > 0 ? v_bus_mV : 0) * avg_uA * p->pri_ms) / 1000000ULL;
    Tpf(" Current  : act %ld mA   stop %ld mA   Vbus %ld mV   avg %lu uA   E %lu uJ" T_EOL,
        (long)(i_active_uA / 1000), (long)(i_sleep_uA / 1000), (long)v_bus_mV,
        UL(avg_uA), UL(e_uJ));
  }

  Tpf(" Health   : %s   flt %lu  tmo %lu  miss %lu  adc %lu  ovr %lu  telem-ovr %lu (max %lu us)%s" T_EOL,
      healthy ? "OK  " : "WARN",
      UL(fault_count), UL(tx_timeout_count), UL(pipeline_miss_count),
      UL(adc_error_count), UL(synthesis_overrun_count),
      UL(telemetry_overrun_count), UL(telemetry_max_us),
      TURB_MODEL_CALIBRATED ? "" : "   [turb UNCAL]");
  Tpf("------------------------------------------------------------" T_EOL);
#if TELEMETRY_ANSI
  Tpf("\xb[J");
#endif

  HAL_UART_Transmit(&huart2, (uint8_t *)tel_buf, (uint16_t)tel_len, 50);
}

static uint32_t TxOverheadNs(uint32_t n)
{
  const uint32_t mhz = SystemCoreClock / 1000000UL;
  const uint32_t cps = SystemCoreClock / DAC_SAMPLE_RATE;
  if (tx_cycles == 0U || mhz == 0U) return 0U;
  const int64_t ovh = (int64_t)tx_cycles - (int64_t)n * (int64_t)cps;
  if (ovh <= 0) return 0U;
  const uint64_t ns = ((uint64_t)ovh * 1000ULL) / mhz;
  return (ns > 65535ULL) ? 65535U : (uint32_t)ns;
}

#ifdef USE_INA226
#define INA226_ADDR (0x40U << 1)
static void Ina226_Init(void)
{
  uint8_t d[2] = { 0x45, 0x27 };
  HAL_I2C_Mem_Write(&hi2c1, INA226_ADDR, 0x00, 1, d, 2, 10);
  d[0] = 0x02; d[1] = 0x00;
  HAL_I2C_Mem_Write(&hi2c1, INA226_ADDR, 0x05, 1, d, 2, 10);
}
static int32_t Ina226_ReadCurrent_uA(void)
{
  uint8_t d[2];
  if (HAL_I2C_Mem_Read(&hi2c1, INA226_ADDR, 0x04, 1, d, 2, 10) != HAL_OK) return -1;
  return (int32_t)((int16_t)((d[0] << 8) | d[1])) * 100;
}
static int32_t Ina226_ReadBus_mV(void)
{
  uint8_t d[2];
  if (HAL_I2C_Mem_Read(&hi2c1, INA226_ADDR, 0x02, 1, d, 2, 10) != HAL_OK) return 0;
  return (int32_t)(((uint32_t)((d[0] << 8) | d[1]) * 125U) / 100U);
}
#endif

/* USER CODE END 4 */

void Error_Handler(void)
{
  /* USER CODE BEGIN Error_Handler_Debug */
  __disable_irq();
  TIM6->CR1 &= ~TIM_CR1_CEN;
  DAC->CR   &= ~DAC_CR_EN1;
  while (1)
  {

  }
  /* USER CODE END Error_Handler_Debug */
}
